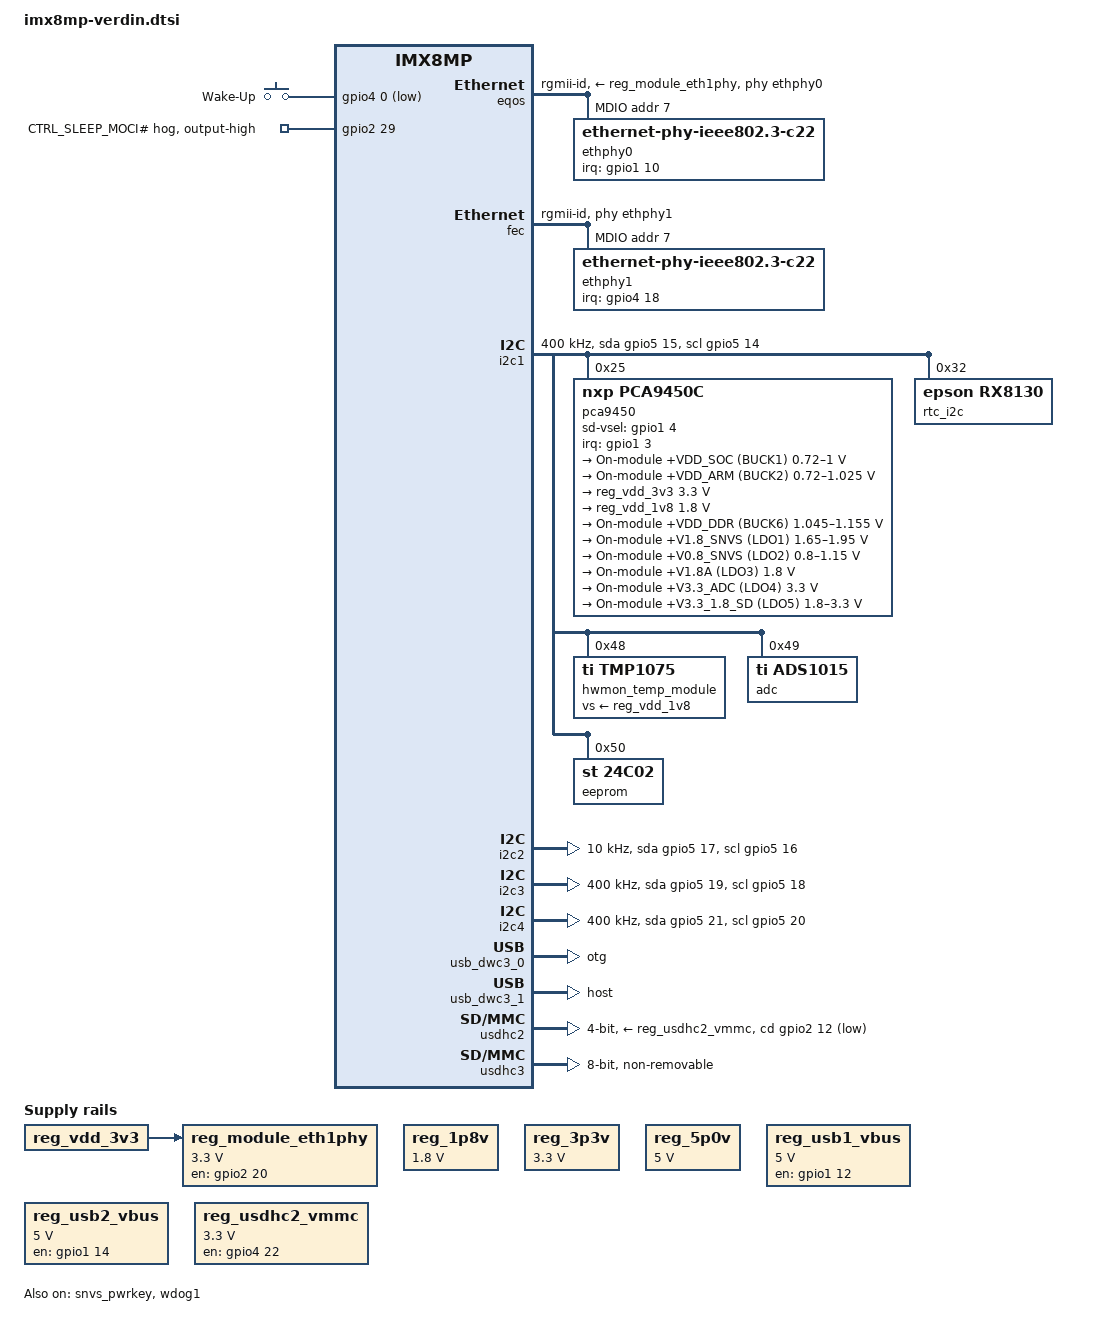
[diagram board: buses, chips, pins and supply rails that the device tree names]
// SPDX-License-Identifier: GPL-2.0-or-later OR MIT
/*
 * Copyright 2022 Toradex
 */

#include "dt-bindings/pwm/pwm.h"
#include "imx8mp.dtsi"

/ {
	chosen {
		stdout-path = &uart3;
	};

	aliases {
		/* Ethernet aliases to ensure correct MAC addresses */
		ethernet0 = &eqos;
		ethernet1 = &fec;
		rtc0 = &rtc_i2c;
		rtc1 = &snvs_rtc;
	};

	backlight: backlight {
		compatible = "pwm-backlight";
		brightness-levels = <0 45 63 88 119 158 203 255>;
		default-brightness-level = <4>;
		/* Verdin I2S_2_D_OUT (DSI_1_BKL_EN/DSI_1_BKL_EN_LVDS, SODIMM 46) */
		enable-gpios = <&gpio5 1 GPIO_ACTIVE_HIGH>;
		pinctrl-names = "default";
		pinctrl-0 = <&pinctrl_i2s_2_d_out_dsi_1_bkl_en>;
		power-supply = <&reg_3p3v>;
		/* Verdin PWM_3_DSI/PWM_3_DSI_LVDS (SODIMM 19) */
		pwms = <&pwm3 0 6666667 PWM_POLARITY_INVERTED>;
		status = "disabled";
	};

	backlight_mezzanine: backlight-mezzanine {
		compatible = "pwm-backlight";
		brightness-levels = <0 45 63 88 119 158 203 255>;
		default-brightness-level = <4>;
		/* Verdin GPIO 4 (SODIMM 212) */
		enable-gpios = <&gpio1 6 GPIO_ACTIVE_HIGH>;
		/* Verdin PWM_2 (SODIMM 16) */
		pwms = <&pwm2 0 6666667 PWM_POLARITY_INVERTED>;
		status = "disabled";
	};

	gpio-keys {
		compatible = "gpio-keys";
		pinctrl-names = "default";
		pinctrl-0 = <&pinctrl_gpio_keys>;

		wakeup {
			debounce-interval = <10>;
			/* Verdin CTRL_WAKE1_MICO# (SODIMM 252) */
			gpios = <&gpio4 0 GPIO_ACTIVE_LOW>;
			label = "Wake-Up";
			linux,code = <KEY_WAKEUP>;
			wakeup-source;
		};
	};

	/* Carrier Board Supplies */
	reg_1p8v: regulator-1p8v {
		compatible = "regulator-fixed";
		regulator-max-microvolt = <1800000>;
		regulator-min-microvolt = <1800000>;
		regulator-name = "+V1.8_SW";
	};

	reg_3p3v: regulator-3p3v {
		compatible = "regulator-fixed";
		regulator-max-microvolt = <3300000>;
		regulator-min-microvolt = <3300000>;
		regulator-name = "+V3.3_SW";
	};

	reg_5p0v: regulator-5p0v {
		compatible = "regulator-fixed";
		regulator-max-microvolt = <5000000>;
		regulator-min-microvolt = <5000000>;
		regulator-name = "+V5_SW";
	};

	/* Non PMIC On-module Supplies */
	reg_module_eth1phy: regulator-module-eth1phy {
		compatible = "regulator-fixed";
		enable-active-high;
		gpio = <&gpio2 20 GPIO_ACTIVE_HIGH>; /* PMIC_EN_ETH */
		off-on-delay = <500000>;
		pinctrl-names = "default";
		pinctrl-0 = <&pinctrl_reg_eth>;
		regulator-always-on;
		regulator-boot-on;
		regulator-max-microvolt = <3300000>;
		regulator-min-microvolt = <3300000>;
		regulator-name = "On-module +V3.3_ETH";
		startup-delay-us = <200000>;
		vin-supply = <&reg_vdd_3v3>;
	};

	reg_usb1_vbus: regulator-usb1-vbus {
		compatible = "regulator-fixed";
		enable-active-high;
		/* Verdin USB_1_EN (SODIMM 155) */
		gpio = <&gpio1 12 GPIO_ACTIVE_HIGH>;
		pinctrl-names = "default";
		pinctrl-0 = <&pinctrl_usb1_vbus>;
		regulator-max-microvolt = <5000000>;
		regulator-min-microvolt = <5000000>;
		regulator-name = "USB_1_EN";
	};

	reg_usb2_vbus: regulator-usb2-vbus {
		compatible = "regulator-fixed";
		enable-active-high;
		/* Verdin USB_2_EN (SODIMM 185) */
		gpio = <&gpio1 14 GPIO_ACTIVE_HIGH>;
		pinctrl-names = "default";
		pinctrl-0 = <&pinctrl_usb2_vbus>;
		regulator-max-microvolt = <5000000>;
		regulator-min-microvolt = <5000000>;
		regulator-name = "USB_2_EN";
	};

	reg_usdhc2_vmmc: regulator-usdhc2 {
		compatible = "regulator-fixed";
		enable-active-high;
		/* Verdin SD_1_PWR_EN (SODIMM 76) */
		gpio = <&gpio4 22 GPIO_ACTIVE_HIGH>;
		off-on-delay = <100000>;
		pinctrl-names = "default";
		pinctrl-0 = <&pinctrl_usdhc2_pwr_en>;
		regulator-max-microvolt = <3300000>;
		regulator-min-microvolt = <3300000>;
		regulator-name = "+V3.3_SD";
		startup-delay-us = <2000>;
	};

	reserved-memory {
		#address-cells = <2>;
		#size-cells = <2>;
		ranges;

		/* Use the kernel configuration settings instead */
		/delete-node/ linux,cma;
	};
};

/* Verdin SPI_1 */
&ecspi1 {
	#address-cells = <1>;
	#size-cells = <0>;
	cs-gpios = <&gpio5 9 GPIO_ACTIVE_LOW>;
	pinctrl-names = "default";
	pinctrl-0 = <&pinctrl_ecspi1>;
};

/* Verdin ETH_1 (On-module PHY) */
&eqos {
	phy-handle = <&ethphy0>;
	phy-mode = "rgmii-id";
	phy-supply = <&reg_module_eth1phy>;
	pinctrl-names = "default";
	pinctrl-0 = <&pinctrl_eqos>;
	snps,force_thresh_dma_mode;
	snps,mtl-rx-config = <&mtl_rx_setup>;
	snps,mtl-tx-config = <&mtl_tx_setup>;

	mdio {
		compatible = "snps,dwmac-mdio";
		#address-cells = <1>;
		#size-cells = <0>;

		ethphy0: ethernet-phy@7 {
			compatible = "ethernet-phy-ieee802.3-c22";
			eee-broken-100tx;
			eee-broken-1000t;
			interrupt-parent = <&gpio1>;
			interrupts = <10 IRQ_TYPE_LEVEL_LOW>;
			micrel,led-mode = <0>;
			reg = <7>;
		};
	};

	mtl_rx_setup: rx-queues-config {
		snps,rx-queues-to-use = <5>;
		snps,rx-sched-sp;

		queue0 {
			snps,dcb-algorithm;
			snps,priority = <0x1>;
			snps,map-to-dma-channel = <0>;
		};

		queue1 {
			snps,dcb-algorithm;
			snps,priority = <0x2>;
			snps,map-to-dma-channel = <1>;
		};

		queue2 {
			snps,dcb-algorithm;
			snps,priority = <0x4>;
			snps,map-to-dma-channel = <2>;
		};

		queue3 {
			snps,dcb-algorithm;
			snps,priority = <0x8>;
			snps,map-to-dma-channel = <3>;
		};

		queue4 {
			snps,dcb-algorithm;
			snps,priority = <0xf0>;
			snps,map-to-dma-channel = <4>;
		};
	};

	mtl_tx_setup: tx-queues-config {
		snps,tx-queues-to-use = <5>;
		snps,tx-sched-sp;

		queue0 {
			snps,dcb-algorithm;
			snps,priority = <0x1>;
		};

		queue1 {
			snps,dcb-algorithm;
			snps,priority = <0x2>;
		};

		queue2 {
			snps,dcb-algorithm;
			snps,priority = <0x4>;
		};

		queue3 {
			snps,dcb-algorithm;
			snps,priority = <0x8>;
		};

		queue4 {
			snps,dcb-algorithm;
			snps,priority = <0xf0>;
		};
	};
};

/* Verdin ETH_2_RGMII */
&fec {
	fsl,magic-packet;
	phy-handle = <&ethphy1>;
	phy-mode = "rgmii-id";
	pinctrl-names = "default", "sleep";
	pinctrl-0 = <&pinctrl_fec>;
	pinctrl-1 = <&pinctrl_fec_sleep>;

	mdio {
		#address-cells = <1>;
		#size-cells = <0>;

		ethphy1: ethernet-phy@7 {
			compatible = "ethernet-phy-ieee802.3-c22";
			interrupt-parent = <&gpio4>;
			interrupts = <18 IRQ_TYPE_LEVEL_LOW>;
			micrel,led-mode = <0>;
			reg = <7>;
		};
	};
};

/* Verdin CAN_1 */
&flexcan1 {
	pinctrl-names = "default";
	pinctrl-0 = <&pinctrl_flexcan1>;
	status = "disabled";
};


/* Verdin CAN_2 */
&flexcan2 {
	pinctrl-names = "default";
	pinctrl-0 = <&pinctrl_flexcan2>;
	status = "disabled";
};

/* Verdin QSPI_1 */
&flexspi {
	pinctrl-names = "default";
	pinctrl-0 = <&pinctrl_flexspi0>;
};

&gpio1 {
	gpio-line-names = "SODIMM_206",
			  "SODIMM_208",
			  "",
			  "",
			  "",
			  "SODIMM_210",
			  "SODIMM_212",
			  "SODIMM_216",
			  "SODIMM_218",
			  "",
			  "",
			  "SODIMM_16",
			  "SODIMM_155",
			  "SODIMM_157",
			  "SODIMM_185",
			  "SODIMM_91";
};

&gpio2 {
	gpio-line-names = "",
			  "",
			  "",
			  "",
			  "",
			  "",
			  "SODIMM_143",
			  "SODIMM_141",
			  "",
			  "",
			  "SODIMM_161",
			  "",
			  "SODIMM_84",
			  "SODIMM_78",
			  "SODIMM_74",
			  "SODIMM_80",
			  "SODIMM_82",
			  "SODIMM_70",
			  "SODIMM_72";

	ctrl-sleep-moci-hog {
		gpio-hog;
		/* Verdin CTRL_SLEEP_MOCI# (SODIMM 256) */
		gpios = <29 GPIO_ACTIVE_HIGH>;
		line-name = "CTRL_SLEEP_MOCI#";
		output-high;
		pinctrl-names = "default";
		pinctrl-0 = <&pinctrl_ctrl_sleep_moci>;
	};
};

&gpio3 {
	gpio-line-names = "SODIMM_52",
			  "SODIMM_54",
			  "",
			  "",
			  "",
			  "",
			  "SODIMM_56",
			  "SODIMM_58",
			  "SODIMM_60",
			  "SODIMM_62",
			  "",
			  "",
			  "",
			  "",
			  "SODIMM_66",
			  "",
			  "SODIMM_64",
			  "",
			  "",
			  "SODIMM_34",
			  "SODIMM_19",
			  "",
			  "SODIMM_32",
			  "",
			  "",
			  "SODIMM_30",
			  "SODIMM_59",
			  "SODIMM_57",
			  "SODIMM_63",
			  "SODIMM_61";
};

&gpio4 {
	gpio-line-names = "SODIMM_252",
			  "SODIMM_222",
			  "SODIMM_36",
			  "SODIMM_220",
			  "SODIMM_193",
			  "SODIMM_191",
			  "SODIMM_201",
			  "SODIMM_203",
			  "SODIMM_205",
			  "SODIMM_207",
			  "SODIMM_199",
			  "SODIMM_197",
			  "SODIMM_221",
			  "SODIMM_219",
			  "SODIMM_217",
			  "SODIMM_215",
			  "SODIMM_211",
			  "SODIMM_213",
			  "SODIMM_189",
			  "SODIMM_244",
			  "SODIMM_38",
			  "",
			  "SODIMM_76",
			  "SODIMM_135",
			  "SODIMM_133",
			  "SODIMM_17",
			  "SODIMM_24",
			  "SODIMM_26",
			  "SODIMM_21",
			  "SODIMM_256",
			  "SODIMM_48",
			  "SODIMM_44";
};

/* On-module I2C */
&i2c1 {
	clock-frequency = <400000>;
	pinctrl-names = "default", "gpio";
	pinctrl-0 = <&pinctrl_i2c1>;
	pinctrl-1 = <&pinctrl_i2c1_gpio>;
	scl-gpios = <&gpio5 14 (GPIO_ACTIVE_HIGH | GPIO_OPEN_DRAIN)>;
	sda-gpios = <&gpio5 15 (GPIO_ACTIVE_HIGH | GPIO_OPEN_DRAIN)>;
	status = "okay";

	pca9450: pmic@25 {
		compatible = "nxp,pca9450c";
		interrupt-parent = <&gpio1>;
		/* PMIC PCA9450 PMIC_nINT GPIO1_IO3 */
		interrupts = <3 IRQ_TYPE_LEVEL_LOW>;
		pinctrl-names = "default";
		pinctrl-0 = <&pinctrl_pmic>;
		reg = <0x25>;
		sd-vsel-gpios = <&gpio1 4 GPIO_ACTIVE_HIGH>;

		/*
		 * The bootloader is expected to switch on LDO4 for the on-module +V3.3_ADC and the
		 * I2C level shifter for the TLA2024 ADC behind this PMIC.
		 */

		regulators {
			BUCK1 {
				regulator-always-on;
				regulator-boot-on;
				regulator-max-microvolt = <1000000>;
				regulator-min-microvolt = <720000>;
				regulator-name = "On-module +VDD_SOC (BUCK1)";
				regulator-ramp-delay = <3125>;
			};

			BUCK2 {
				nxp,dvs-run-voltage = <950000>;
				nxp,dvs-standby-voltage = <850000>;
				regulator-always-on;
				regulator-boot-on;
				regulator-max-microvolt = <1025000>;
				regulator-min-microvolt = <720000>;
				regulator-name = "On-module +VDD_ARM (BUCK2)";
				regulator-ramp-delay = <3125>;
			};

			reg_vdd_3v3: BUCK4 {
				regulator-always-on;
				regulator-boot-on;
				regulator-max-microvolt = <3300000>;
				regulator-min-microvolt = <3300000>;
				regulator-name = "On-module +V3.3 (BUCK4)";
			};

			reg_vdd_1v8: BUCK5 {
				regulator-always-on;
				regulator-boot-on;
				regulator-max-microvolt = <1800000>;
				regulator-min-microvolt = <1800000>;
				regulator-name = "PWR_1V8_MOCI (BUCK5)";
			};

			BUCK6 {
				regulator-always-on;
				regulator-boot-on;
				regulator-max-microvolt = <1155000>;
				regulator-min-microvolt = <1045000>;
				regulator-name = "On-module +VDD_DDR (BUCK6)";
			};

			LDO1 {
				regulator-always-on;
				regulator-boot-on;
				regulator-max-microvolt = <1950000>;
				regulator-min-microvolt = <1650000>;
				regulator-name = "On-module +V1.8_SNVS (LDO1)";
			};

			LDO2 {
				regulator-always-on;
				regulator-boot-on;
				regulator-max-microvolt = <1150000>;
				regulator-min-microvolt = <800000>;
				regulator-name = "On-module +V0.8_SNVS (LDO2)";
			};

			LDO3 {
				regulator-always-on;
				regulator-boot-on;
				regulator-max-microvolt = <1800000>;
				regulator-min-microvolt = <1800000>;
				regulator-name = "On-module +V1.8A (LDO3)";
			};

			LDO4 {
				regulator-always-on;
				regulator-boot-on;
				regulator-max-microvolt = <3300000>;
				regulator-min-microvolt = <3300000>;
				regulator-name = "On-module +V3.3_ADC (LDO4)";
			};

			LDO5 {
				regulator-max-microvolt = <3300000>;
				regulator-min-microvolt = <1800000>;
				regulator-name = "On-module +V3.3_1.8_SD (LDO5)";
			};
		};
	};

	rtc_i2c: rtc@32 {
		compatible = "epson,rx8130";
		reg = <0x32>;
	};

	/* On-module temperature sensor */
	hwmon_temp_module: sensor@48 {
		compatible = "ti,tmp1075";
		reg = <0x48>;
		vs-supply = <&reg_vdd_1v8>;
	};

	adc@49 {
		compatible = "ti,ads1015";
		reg = <0x49>;
		#address-cells = <1>;
		#size-cells = <0>;

		/* Verdin I2C_1 (ADC_4 - ADC_3) */
		channel@0 {
			reg = <0>;
			ti,datarate = <4>;
			ti,gain = <2>;
		};

		/* Verdin I2C_1 (ADC_4 - ADC_1) */
		channel@1 {
			reg = <1>;
			ti,datarate = <4>;
			ti,gain = <2>;
		};

		/* Verdin I2C_1 (ADC_3 - ADC_1) */
		channel@2 {
			reg = <2>;
			ti,datarate = <4>;
			ti,gain = <2>;
		};

		/* Verdin I2C_1 (ADC_2 - ADC_1) */
		channel@3 {
			reg = <3>;
			ti,datarate = <4>;
			ti,gain = <2>;
		};

		/* Verdin I2C_1 ADC_4 */
		channel@4 {
			reg = <4>;
			ti,datarate = <4>;
			ti,gain = <2>;
		};

		/* Verdin I2C_1 ADC_3 */
		channel@5 {
			reg = <5>;
			ti,datarate = <4>;
			ti,gain = <2>;
		};

		/* Verdin I2C_1 ADC_2 */
		channel@6 {
			reg = <6>;
			ti,datarate = <4>;
			ti,gain = <2>;
		};

		/* Verdin I2C_1 ADC_1 */
		channel@7 {
			reg = <7>;
			ti,datarate = <4>;
			ti,gain = <2>;
		};
	};

	eeprom@50 {
		compatible = "st,24c02";
		pagesize = <16>;
		reg = <0x50>;
	};
};

/* Verdin I2C_2_DSI */
&i2c2 {
	/* Lower frequency to avoid DDC/EDID issues with certain displays/screens. */
	clock-frequency = <10000>;
	pinctrl-names = "default", "gpio";
	pinctrl-0 = <&pinctrl_i2c2>;
	pinctrl-1 = <&pinctrl_i2c2_gpio>;
	scl-gpios = <&gpio5 16 (GPIO_ACTIVE_HIGH | GPIO_OPEN_DRAIN)>;
	sda-gpios = <&gpio5 17 (GPIO_ACTIVE_HIGH | GPIO_OPEN_DRAIN)>;

	atmel_mxt_ts_mezzanine: touch-mezzanine@4a {
		compatible = "atmel,maxtouch";
		/* Verdin GPIO_3 (SODIMM 210) */
		interrupt-parent = <&gpio1>;
		interrupts = <5 IRQ_TYPE_EDGE_FALLING>;
		reg = <0x4a>;
		/* Verdin GPIO_2 (SODIMM 208) */
		reset-gpios = <&gpio1 1 GPIO_ACTIVE_HIGH>;
		status = "disabled";
	};
};

/* TODO: Verdin I2C_3_HDMI */

/* Verdin I2C_4_CSI */
&i2c3 {
	clock-frequency = <400000>;
	pinctrl-names = "default", "gpio";
	pinctrl-0 = <&pinctrl_i2c3>;
	pinctrl-1 = <&pinctrl_i2c3_gpio>;
	scl-gpios = <&gpio5 18 (GPIO_ACTIVE_HIGH | GPIO_OPEN_DRAIN)>;
	sda-gpios = <&gpio5 19 (GPIO_ACTIVE_HIGH | GPIO_OPEN_DRAIN)>;
};

/* Verdin I2C_1 */
&i2c4 {
	clock-frequency = <400000>;
	pinctrl-names = "default", "gpio";
	pinctrl-0 = <&pinctrl_i2c4>;
	pinctrl-1 = <&pinctrl_i2c4_gpio>;
	scl-gpios = <&gpio5 20 (GPIO_ACTIVE_HIGH | GPIO_OPEN_DRAIN)>;
	sda-gpios = <&gpio5 21 (GPIO_ACTIVE_HIGH | GPIO_OPEN_DRAIN)>;

	gpio_expander_21: gpio-expander@21 {
		compatible = "nxp,pcal6416";
		#gpio-cells = <2>;
		gpio-controller;
		reg = <0x21>;
		vcc-supply = <&reg_3p3v>;
		status = "disabled";
	};

	lvds_ti_sn65dsi83: bridge@2c {
		compatible = "ti,sn65dsi83";
		/* Verdin GPIO_9_DSI (SN65DSI84 IRQ, SODIMM 17, unused) */
		/* Verdin GPIO_10_DSI (SODIMM 21) */
		enable-gpios = <&gpio4 28 GPIO_ACTIVE_HIGH>;
		pinctrl-names = "default";
		pinctrl-0 = <&pinctrl_gpio_10_dsi>;
		reg = <0x2c>;
		status = "disabled";
	};

	/* Current measurement into module VCC */
	hwmon: hwmon@40 {
		compatible = "ti,ina219";
		reg = <0x40>;
		shunt-resistor = <10000>;
		status = "disabled";
	};

	hdmi_lontium_lt8912: hdmi@48 {
		compatible = "lontium,lt8912b";
		pinctrl-names = "default";
		pinctrl-0 = <&pinctrl_gpio_10_dsi>, <&pinctrl_pwm_3_dsi_hpd_gpio>;
		reg = <0x48>;
		/* Verdin GPIO_9_DSI (LT8912 INT, SODIMM 17, unused) */
		/* Verdin GPIO_10_DSI (SODIMM 21) */
		reset-gpios = <&gpio4 28 GPIO_ACTIVE_LOW>;
		status = "disabled";
	};

	atmel_mxt_ts: touch@4a {
		compatible = "atmel,maxtouch";
		/*
		 * Verdin GPIO_9_DSI
		 * (TOUCH_INT#, SODIMM 17, also routed to SN65DSI83 IRQ albeit currently unused)
		 */
		interrupt-parent = <&gpio4>;
		interrupts = <25 IRQ_TYPE_EDGE_FALLING>;
		pinctrl-names = "default";
		pinctrl-0 = <&pinctrl_gpio_9_dsi>, <&pinctrl_i2s_2_bclk_touch_reset>;
		reg = <0x4a>;
		/* Verdin I2S_2_BCLK (TOUCH_RESET#, SODIMM 42) */
		reset-gpios = <&gpio5 0 GPIO_ACTIVE_HIGH>;
		status = "disabled";
	};

	/* Temperature sensor on carrier board */
	hwmon_temp: sensor@4f {
		compatible = "ti,tmp75c";
		reg = <0x4f>;
		status = "disabled";
	};

	/* EEPROM on display adapter (MIPI DSI Display Adapter) */
	eeprom_display_adapter: eeprom@50 {
		compatible = "st,24c02";
		pagesize = <16>;
		reg = <0x50>;
		status = "disabled";
	};

	/* EEPROM on carrier board */
	eeprom_carrier_board: eeprom@57 {
		compatible = "st,24c02";
		pagesize = <16>;
		reg = <0x57>;
		status = "disabled";
	};
};

/* TODO: Verdin PCIE_1 */

/* Verdin PWM_1 */
&pwm1 {
	pinctrl-names = "default";
	pinctrl-0 = <&pinctrl_pwm_1>;
	#pwm-cells = <3>;
};

/* Verdin PWM_2 */
&pwm2 {
	pinctrl-names = "default";
	pinctrl-0 = <&pinctrl_pwm_2>;
	#pwm-cells = <3>;
};

/* Verdin PWM_3_DSI */
&pwm3 {
	pinctrl-names = "default";
	pinctrl-0 = <&pinctrl_pwm_3>;
	#pwm-cells = <3>;
};

/* TODO: Verdin I2S_1 */

/* TODO: Verdin I2S_2 */

&snvs_pwrkey {
	status = "okay";
};

/* Verdin UART_1 */
&uart1 {
	pinctrl-names = "default";
	pinctrl-0 = <&pinctrl_uart1>;
	uart-has-rtscts;
};

/* Verdin UART_2 */
&uart2 {
	pinctrl-names = "default";
	pinctrl-0 = <&pinctrl_uart2>;
	uart-has-rtscts;
};

/* Verdin UART_3, used as the Linux Console */
&uart3 {
	pinctrl-names = "default";
	pinctrl-0 = <&pinctrl_uart3>;
};

/* Verdin UART_4, used for Bluetooth on Wi-Fi/Bluetooth SKUs */
&uart4 {
	pinctrl-names = "default";
	pinctrl-0 = <&pinctrl_uart4>;
};

/* Verdin USB_1 */
&usb3_phy0 {
	vbus-supply = <&reg_usb1_vbus>;
};

&usb_dwc3_0 {
	adp-disable;
	dr_mode = "otg";
	hnp-disable;
	maximum-speed = "high-speed";
	over-current-active-low;
	pinctrl-names = "default";
	pinctrl-0 = <&pinctrl_usb_1_id>;
	srp-disable;
};

/* Verdin USB_2 */
&usb3_phy1 {
	vbus-supply = <&reg_usb2_vbus>;
};

&usb_dwc3_1 {
	disable-over-current;
	dr_mode = "host";
};

/* Verdin SD_1 */
&usdhc2 {
	assigned-clocks = <&clk IMX8MP_CLK_USDHC2>;
	assigned-clock-rates = <400000000>;
	bus-width = <4>;
	cd-gpios = <&gpio2 12 GPIO_ACTIVE_LOW>;
	disable-wp;
	pinctrl-names = "default", "state_100mhz", "state_200mhz", "sleep";
	pinctrl-0 = <&pinctrl_usdhc2>, <&pinctrl_usdhc2_cd>;
	pinctrl-1 = <&pinctrl_usdhc2_100mhz>, <&pinctrl_usdhc2_cd>;
	pinctrl-2 = <&pinctrl_usdhc2_200mhz>, <&pinctrl_usdhc2_cd>;
	pinctrl-3 = <&pinctrl_usdhc2_sleep>, <&pinctrl_usdhc2_cd_sleep>;
	vmmc-supply = <&reg_usdhc2_vmmc>;
};

/* On-module eMMC */
&usdhc3 {
	assigned-clocks = <&clk IMX8MP_CLK_USDHC3_ROOT>;
	assigned-clock-rates = <400000000>;
	bus-width = <8>;
	non-removable;
	pinctrl-names = "default", "state_100mhz", "state_200mhz";
	pinctrl-0 = <&pinctrl_usdhc3>;
	pinctrl-1 = <&pinctrl_usdhc3_100mhz>;
	pinctrl-2 = <&pinctrl_usdhc3_200mhz>;
	status = "okay";
};

&wdog1 {
	fsl,ext-reset-output;
	pinctrl-names = "default";
	pinctrl-0 = <&pinctrl_wdog>;
	status = "okay";
};

&iomuxc {
	pinctrl_bt_uart: btuartgrp {
		fsl,pins =
			<MX8MP_IOMUXC_ECSPI2_MISO__UART4_DCE_CTS	0x1c4>,
			<MX8MP_IOMUXC_ECSPI2_MOSI__UART4_DCE_TX		0x1c4>,
			<MX8MP_IOMUXC_ECSPI2_SCLK__UART4_DCE_RX		0x1c4>,
			<MX8MP_IOMUXC_ECSPI2_SS0__UART4_DCE_RTS		0x1c4>;
	};

	pinctrl_ctrl_sleep_moci: ctrlsleepmocigrp {
		fsl,pins =
			<MX8MP_IOMUXC_SAI3_RXC__GPIO4_IO29		0x1c4>;	/* SODIMM 256 */
	};

	pinctrl_ecspi1: ecspi1grp {
		fsl,pins =
			<MX8MP_IOMUXC_ECSPI1_MISO__ECSPI1_MISO		0x1c4>,	/* SODIMM 198 */
			<MX8MP_IOMUXC_ECSPI1_MOSI__ECSPI1_MOSI		0x4>,	/* SODIMM 200 */
			<MX8MP_IOMUXC_ECSPI1_SCLK__ECSPI1_SCLK		0x4>,	/* SODIMM 196 */
			<MX8MP_IOMUXC_ECSPI1_SS0__GPIO5_IO09		0x1c4>;	/* SODIMM 202 */
	};

	/* Connection On Board PHY */
	pinctrl_eqos: eqosgrp {
		fsl,pins =
			<MX8MP_IOMUXC_ENET_MDC__ENET_QOS_MDC				0x3>,
			<MX8MP_IOMUXC_ENET_MDIO__ENET_QOS_MDIO				0x3>,
			<MX8MP_IOMUXC_ENET_RD0__ENET_QOS_RGMII_RD0			0x91>,
			<MX8MP_IOMUXC_ENET_RD1__ENET_QOS_RGMII_RD1			0x91>,
			<MX8MP_IOMUXC_ENET_RD2__ENET_QOS_RGMII_RD2			0x91>,
			<MX8MP_IOMUXC_ENET_RD3__ENET_QOS_RGMII_RD3			0x91>,
			<MX8MP_IOMUXC_ENET_RXC__CCM_ENET_QOS_CLOCK_GENERATE_RX_CLK	0x91>,
			<MX8MP_IOMUXC_ENET_RX_CTL__ENET_QOS_RGMII_RX_CTL		0x91>,
			<MX8MP_IOMUXC_ENET_TD0__ENET_QOS_RGMII_TD0			0x1f>,
			<MX8MP_IOMUXC_ENET_TD1__ENET_QOS_RGMII_TD1			0x1f>,
			<MX8MP_IOMUXC_ENET_TD2__ENET_QOS_RGMII_TD2			0x1f>,
			<MX8MP_IOMUXC_ENET_TD3__ENET_QOS_RGMII_TD3			0x1f>,
			<MX8MP_IOMUXC_ENET_TX_CTL__ENET_QOS_RGMII_TX_CTL		0x1f>,
			<MX8MP_IOMUXC_ENET_TXC__CCM_ENET_QOS_CLOCK_GENERATE_TX_CLK	0x1f>;
	};

	/* ETH_INT# shared with TPM_INT# (usually N/A) */
	pinctrl_eth_tpm_int: ethtpmintgrp {
		fsl,pins =
			<MX8MP_IOMUXC_GPIO1_IO10__GPIO1_IO10		0x1c4>;
	};

	/* Connection Carrier Board PHY ETH_2 */
	pinctrl_fec: fecgrp {
		fsl,pins =
			<MX8MP_IOMUXC_SAI1_RXD2__ENET1_MDC		0x3>,	/* SODIMM 193 */
			<MX8MP_IOMUXC_SAI1_RXD3__ENET1_MDIO		0x3>,	/* SODIMM 191 */
			<MX8MP_IOMUXC_SAI1_RXD4__ENET1_RGMII_RD0	0x91>,	/* SODIMM 201 */
			<MX8MP_IOMUXC_SAI1_RXD5__ENET1_RGMII_RD1	0x91>,	/* SODIMM 203 */
			<MX8MP_IOMUXC_SAI1_RXD6__ENET1_RGMII_RD2	0x91>,	/* SODIMM 205 */
			<MX8MP_IOMUXC_SAI1_RXD7__ENET1_RGMII_RD3	0x91>,	/* SODIMM 207 */
			<MX8MP_IOMUXC_SAI1_TXC__ENET1_RGMII_RXC		0x91>,	/* SODIMM 197 */
			<MX8MP_IOMUXC_SAI1_TXFS__ENET1_RGMII_RX_CTL	0x91>,	/* SODIMM 199 */
			<MX8MP_IOMUXC_SAI1_TXD0__ENET1_RGMII_TD0	0x1f>,	/* SODIMM 221 */
			<MX8MP_IOMUXC_SAI1_TXD1__ENET1_RGMII_TD1	0x1f>,	/* SODIMM 219 */
			<MX8MP_IOMUXC_SAI1_TXD2__ENET1_RGMII_TD2	0x1f>,	/* SODIMM 217 */
			<MX8MP_IOMUXC_SAI1_TXD3__ENET1_RGMII_TD3	0x1f>,	/* SODIMM 215 */
			<MX8MP_IOMUXC_SAI1_TXD4__ENET1_RGMII_TX_CTL	0x1f>,	/* SODIMM 211 */
			<MX8MP_IOMUXC_SAI1_TXD5__ENET1_RGMII_TXC	0x1f>,	/* SODIMM 213 */
			<MX8MP_IOMUXC_SAI1_TXD6__GPIO4_IO18		0x1c4>;	/* SODIMM 189 */
	};

	pinctrl_fec_sleep: fecsleepgrp {
		fsl,pins =
			<MX8MP_IOMUXC_SAI1_RXD2__ENET1_MDC		0x3>,	/* SODIMM 193 */
			<MX8MP_IOMUXC_SAI1_RXD3__ENET1_MDIO		0x3>,	/* SODIMM 191 */
			<MX8MP_IOMUXC_SAI1_RXD4__ENET1_RGMII_RD0	0x91>,	/* SODIMM 201 */
			<MX8MP_IOMUXC_SAI1_RXD5__ENET1_RGMII_RD1	0x91>,	/* SODIMM 203 */
			<MX8MP_IOMUXC_SAI1_RXD6__ENET1_RGMII_RD2	0x91>,	/* SODIMM 205 */
			<MX8MP_IOMUXC_SAI1_RXD7__ENET1_RGMII_RD3	0x91>,	/* SODIMM 207 */
			<MX8MP_IOMUXC_SAI1_TXC__ENET1_RGMII_RXC		0x91>,	/* SODIMM 197 */
			<MX8MP_IOMUXC_SAI1_TXFS__ENET1_RGMII_RX_CTL	0x91>,	/* SODIMM 199 */
			<MX8MP_IOMUXC_SAI1_TXD0__GPIO4_IO12		0x1f>,	/* SODIMM 221 */
			<MX8MP_IOMUXC_SAI1_TXD1__GPIO4_IO13		0x1f>,	/* SODIMM 219 */
			<MX8MP_IOMUXC_SAI1_TXD2__GPIO4_IO14		0x1f>,	/* SODIMM 217 */
			<MX8MP_IOMUXC_SAI1_TXD3__GPIO4_IO15		0x1f>,	/* SODIMM 215 */
			<MX8MP_IOMUXC_SAI1_TXD4__GPIO4_IO16		0x1f>,	/* SODIMM 211 */
			<MX8MP_IOMUXC_SAI1_TXD5__GPIO4_IO17		0x1f>,	/* SODIMM 213 */
			<MX8MP_IOMUXC_SAI1_TXD6__GPIO4_IO18		0x184>;	/* SODIMM 189 */
	};

	pinctrl_flexcan1: flexcan1grp {
		fsl,pins =
			<MX8MP_IOMUXC_SPDIF_RX__CAN1_RX			0x154>,	/* SODIMM 22 */
			<MX8MP_IOMUXC_SPDIF_TX__CAN1_TX			0x154>;	/* SODIMM 20 */
	};

	pinctrl_flexcan2: flexcan2grp {
		fsl,pins =
			<MX8MP_IOMUXC_SAI2_MCLK__CAN2_RX		0x154>,	/* SODIMM 26 */
			<MX8MP_IOMUXC_SAI2_TXD0__CAN2_TX		0x154>;	/* SODIMM 24 */
	};

	pinctrl_flexspi0: flexspi0grp {
		fsl,pins =
			<MX8MP_IOMUXC_NAND_ALE__FLEXSPI_A_SCLK		0x1c2>,	/* SODIMM 52 */
			<MX8MP_IOMUXC_NAND_CE0_B__FLEXSPI_A_SS0_B	0x82>,	/* SODIMM 54 */
			<MX8MP_IOMUXC_NAND_DQS__FLEXSPI_A_DQS		0x82>,	/* SODIMM 66 */
			<MX8MP_IOMUXC_NAND_DATA00__FLEXSPI_A_DATA00	0x82>,	/* SODIMM 56 */
			<MX8MP_IOMUXC_NAND_DATA01__FLEXSPI_A_DATA01	0x82>,	/* SODIMM 58 */
			<MX8MP_IOMUXC_NAND_DATA02__FLEXSPI_A_DATA02	0x82>,	/* SODIMM 60 */
			<MX8MP_IOMUXC_NAND_DATA03__FLEXSPI_A_DATA03	0x82>,	/* SODIMM 62 */
			<MX8MP_IOMUXC_NAND_READY_B__GPIO3_IO16		0x82>;	/* SODIMM 64 */
	};

	pinctrl_gpio1: gpio1grp {
		fsl,pins =
			<MX8MP_IOMUXC_GPIO1_IO00__GPIO1_IO00		0x184>;	/* SODIMM 206 */
	};

	pinctrl_gpio2: gpio2grp {
		fsl,pins =
			<MX8MP_IOMUXC_GPIO1_IO01__GPIO1_IO01		0x1c4>;	/* SODIMM 208 */
	};

	pinctrl_gpio3: gpio3grp {
		fsl,pins =
			<MX8MP_IOMUXC_GPIO1_IO05__GPIO1_IO05		0x184>;	/* SODIMM 210 */
	};

	pinctrl_gpio4: gpio4grp {
		fsl,pins =
			<MX8MP_IOMUXC_GPIO1_IO06__GPIO1_IO06		0x184>;	/* SODIMM 212 */
	};

	pinctrl_gpio5: gpio5grp {
		fsl,pins =
			<MX8MP_IOMUXC_GPIO1_IO07__GPIO1_IO07		0x184>;	/* SODIMM 216 */
	};

	pinctrl_gpio6: gpio6grp {
		fsl,pins =
			<MX8MP_IOMUXC_GPIO1_IO08__GPIO1_IO08		0x184>;	/* SODIMM 218 */
	};

	pinctrl_gpio7: gpio7grp {
		fsl,pins =
			<MX8MP_IOMUXC_SAI1_RXD1__GPIO4_IO03		0x184>;	/* SODIMM 220 */
	};

	pinctrl_gpio8: gpio8grp {
		fsl,pins =
			<MX8MP_IOMUXC_SAI1_RXC__GPIO4_IO01		0x184>;	/* SODIMM 222 */
	};

	/* Verdin GPIO_9_DSI (pulled-up as active-low) */
	pinctrl_gpio_9_dsi: gpio9dsigrp {
		fsl,pins =
			<MX8MP_IOMUXC_SAI2_TXC__GPIO4_IO25		0x1c4>;	/* SODIMM 17 */
	};

	/* Verdin GPIO_10_DSI */
	pinctrl_gpio_10_dsi: gpio10dsigrp {
		fsl,pins =
			<MX8MP_IOMUXC_SAI3_RXFS__GPIO4_IO28		0x1c4>;	/* SODIMM 21 */
	};

	/* Non-wifi MSP usage only */
	pinctrl_gpio_hog1: gpiohog1grp {
		fsl,pins =
			<MX8MP_IOMUXC_ECSPI2_MISO__GPIO5_IO12		0x1c4>,	/* SODIMM 116 */
			<MX8MP_IOMUXC_ECSPI2_MOSI__GPIO5_IO11		0x1c4>,	/* SODIMM 152 */
			<MX8MP_IOMUXC_ECSPI2_SCLK__GPIO5_IO10		0x1c4>,	/* SODIMM 164 */
			<MX8MP_IOMUXC_ECSPI2_SS0__GPIO5_IO13		0x1c4>;	/* SODIMM 128 */
	};

	/* USB_2_OC# */
	pinctrl_gpio_hog2: gpiohog2grp {
		fsl,pins =
			<MX8MP_IOMUXC_SAI3_MCLK__GPIO5_IO02		0x1c4>;	/* SODIMM 187 */
	};

	pinctrl_gpio_hog3: gpiohog3grp {
		fsl,pins =
			<MX8MP_IOMUXC_GPIO1_IO13__GPIO1_IO13		0x1c4>,	/* SODIMM 157 */
			/* CSI_1_MCLK */
			<MX8MP_IOMUXC_GPIO1_IO15__GPIO1_IO15		0x1c4>;	/* SODIMM 91 */
	};

	/* Wifi usage only */
	pinctrl_gpio_hog4: gpiohog4grp {
		fsl,pins =
			<MX8MP_IOMUXC_UART4_RXD__GPIO5_IO28		0x1c4>,	/* SODIMM 151 */
			<MX8MP_IOMUXC_UART4_TXD__GPIO5_IO29		0x1c4>;	/* SODIMM 153 */
	};

	pinctrl_gpio_keys: gpiokeysgrp {
		fsl,pins =
			<MX8MP_IOMUXC_SAI1_RXFS__GPIO4_IO00		0x1c4>;	/* SODIMM 252 */
	};

	pinctrl_hdmi_hog: hdmihoggrp {
		fsl,pins =
			<MX8MP_IOMUXC_HDMI_CEC__HDMIMIX_HDMI_CEC	0x40000019>,	/* SODIMM 63 */
			<MX8MP_IOMUXC_HDMI_DDC_SCL__HDMIMIX_HDMI_SCL	0x400001c3>,	/* SODIMM 59 */
			<MX8MP_IOMUXC_HDMI_DDC_SDA__HDMIMIX_HDMI_SDA	0x400001c3>,	/* SODIMM 57 */
			<MX8MP_IOMUXC_HDMI_HPD__HDMIMIX_HDMI_HPD	0x40000019>;	/* SODIMM 61 */
	};

	/* On-module I2C */
	pinctrl_i2c1: i2c1grp {
		fsl,pins =
			<MX8MP_IOMUXC_I2C1_SCL__I2C1_SCL		0x400001c6>,	/* PMIC_I2C_SCL */
			<MX8MP_IOMUXC_I2C1_SDA__I2C1_SDA		0x400001c6>;	/* PMIC_I2C_SDA */
	};

	pinctrl_i2c1_gpio: i2c1gpiogrp {
		fsl,pins =
			<MX8MP_IOMUXC_I2C1_SCL__GPIO5_IO14		0x400001c6>,	/* PMIC_I2C_SCL */
			<MX8MP_IOMUXC_I2C1_SDA__GPIO5_IO15		0x400001c6>;	/* PMIC_I2C_SDA */
	};

	/* Verdin I2C_2_DSI */
	pinctrl_i2c2: i2c2grp {
		fsl,pins =
			<MX8MP_IOMUXC_I2C2_SCL__I2C2_SCL		0x400001c6>,	/* SODIMM 55 */
			<MX8MP_IOMUXC_I2C2_SDA__I2C2_SDA		0x400001c6>;	/* SODIMM 53 */
	};

	pinctrl_i2c2_gpio: i2c2gpiogrp {
		fsl,pins =
			<MX8MP_IOMUXC_I2C2_SCL__GPIO5_IO16		0x400001c6>,	/* SODIMM 55 */
			<MX8MP_IOMUXC_I2C2_SDA__GPIO5_IO17		0x400001c6>;	/* SODIMM 53 */
	};

	/* Verdin I2C_4_CSI */
	pinctrl_i2c3: i2c3grp {
		fsl,pins =
			<MX8MP_IOMUXC_I2C3_SCL__I2C3_SCL		0x400001c6>,	/* SODIMM 95 */
			<MX8MP_IOMUXC_I2C3_SDA__I2C3_SDA		0x400001c6>;	/* SODIMM 93 */
	};

	pinctrl_i2c3_gpio: i2c3gpiogrp {
		fsl,pins =
			<MX8MP_IOMUXC_I2C3_SCL__GPIO5_IO18		0x400001c6>,	/* SODIMM 95 */
			<MX8MP_IOMUXC_I2C3_SDA__GPIO5_IO19		0x400001c6>;	/* SODIMM 93 */
	};

	/* Verdin I2C_1 */
	pinctrl_i2c4: i2c4grp {
		fsl,pins =
			<MX8MP_IOMUXC_I2C4_SCL__I2C4_SCL		0x400001c6>,	/* SODIMM 14 */
			<MX8MP_IOMUXC_I2C4_SDA__I2C4_SDA		0x400001c6>;	/* SODIMM 12 */
	};

	pinctrl_i2c4_gpio: i2c4gpiogrp {
		fsl,pins =
			<MX8MP_IOMUXC_I2C4_SCL__GPIO5_IO20		0x400001c6>,	/* SODIMM 14 */
			<MX8MP_IOMUXC_I2C4_SDA__GPIO5_IO21		0x400001c6>;	/* SODIMM 12 */
	};

	/* Verdin I2S_2_BCLK (TOUCH_RESET#) */
	pinctrl_i2s_2_bclk_touch_reset: i2s2bclktouchresetgrp {
		fsl,pins =
			<MX8MP_IOMUXC_SAI3_TXC__GPIO5_IO00		0x184>;	/* SODIMM 42 */
	};

	/* Verdin I2S_2_D_OUT shared with SAI3 */
	pinctrl_i2s_2_d_out_dsi_1_bkl_en: i2s2doutdsi1bklengrp {
		fsl,pins =
			<MX8MP_IOMUXC_SAI3_TXD__GPIO5_IO01		0x184>;	/* SODIMM 46 */
	};

	pinctrl_pcie: pciegrp {
		fsl,pins =
			<MX8MP_IOMUXC_SAI1_TXD7__GPIO4_IO19		0x4>,	/* SODIMM 244 */
			<MX8MP_IOMUXC_SD2_RESET_B__GPIO2_IO19		0x1c4>;	/* PMIC_EN_PCIe_CLK, unused */
	};

	pinctrl_pmic: pmicirqgrp {
		fsl,pins =
			<MX8MP_IOMUXC_GPIO1_IO03__GPIO1_IO03		0x1c4>;	/* PMIC_INT# */
	};

	pinctrl_pwm_1: pwm1grp {
		fsl,pins =
			<MX8MP_IOMUXC_SPDIF_EXT_CLK__PWM1_OUT		0x6>;	/* SODIMM 15 */
	};

	pinctrl_pwm_2: pwm2grp {
		fsl,pins =
			<MX8MP_IOMUXC_GPIO1_IO11__PWM2_OUT		0x6>;	/* SODIMM 16 */
	};

	/* Verdin PWM_3_DSI shared with GPIO3_IO20 */
	pinctrl_pwm_3: pwm3grp {
		fsl,pins =
			<MX8MP_IOMUXC_SAI5_RXC__PWM3_OUT		0x6>;	/* SODIMM 19 */
	};

	/* Verdin PWM_3_DSI (pulled-down as active-high) shared with PWM3_OUT */
	pinctrl_pwm_3_dsi_hpd_gpio: pwm3dsi1hpdgpiogrp {
		fsl,pins =
			<MX8MP_IOMUXC_SAI5_RXC__GPIO3_IO20		0x184>;	/* SODIMM 19 */
	};

	pinctrl_reg_eth: regethgrp {
		fsl,pins =
			<MX8MP_IOMUXC_SD2_WP__GPIO2_IO20		0x184>;	/* PMIC_EN_ETH */
	};

	pinctrl_sai1: sai1grp {
		fsl,pins =
			<MX8MP_IOMUXC_SAI1_MCLK__AUDIOMIX_SAI1_MCLK		0x96>,	/* SODIMM 38 */
			<MX8MP_IOMUXC_SAI1_RXD0__AUDIOMIX_SAI1_RX_DATA00	0x1d6>,	/* SODIMM 36 */
			<MX8MP_IOMUXC_SAI5_MCLK__AUDIOMIX_SAI1_TX_BCLK		0x1d6>,	/* SODIMM 30 */
			<MX8MP_IOMUXC_SAI5_RXD1__AUDIOMIX_SAI1_TX_SYNC		0x1d6>,	/* SODIMM 32 */
			<MX8MP_IOMUXC_SAI5_RXFS__AUDIOMIX_SAI1_TX_DATA00	0x96>;	/* SODIMM 34 */
	};

	pinctrl_sai3: sai3grp {
		fsl,pins =
			<MX8MP_IOMUXC_SAI3_RXD__AUDIOMIX_SAI3_RX_DATA00	0x1d6>,	/* SODIMM 48 */
			<MX8MP_IOMUXC_SAI3_TXC__AUDIOMIX_SAI3_TX_BCLK	0x1d6>,	/* SODIMM 42 */
			<MX8MP_IOMUXC_SAI3_TXD__AUDIOMIX_SAI3_TX_DATA00	0x96>,	/* SODIMM 46 */
			<MX8MP_IOMUXC_SAI3_TXFS__AUDIOMIX_SAI3_TX_SYNC	0x1d6>;	/* SODIMM 44 */
	};

	pinctrl_uart1: uart1grp {
		fsl,pins =
			<MX8MP_IOMUXC_SAI2_RXD0__UART1_DCE_RTS		0x1c4>,	/* SODIMM 135 */
			<MX8MP_IOMUXC_SAI2_TXFS__UART1_DCE_CTS		0x1c4>,	/* SODIMM 133 */
			<MX8MP_IOMUXC_UART1_RXD__UART1_DCE_RX		0x1c4>,	/* SODIMM 129 */
			<MX8MP_IOMUXC_UART1_TXD__UART1_DCE_TX		0x1c4>;	/* SODIMM 131 */
	};

	pinctrl_uart2: uart2grp {
		fsl,pins =
			<MX8MP_IOMUXC_SD1_DATA4__UART2_DCE_RTS		0x1c4>,	/* SODIMM 143 */
			<MX8MP_IOMUXC_SD1_DATA5__UART2_DCE_CTS		0x1c4>,	/* SODIMM 141 */
			<MX8MP_IOMUXC_UART2_RXD__UART2_DCE_RX		0x1c4>,	/* SODIMM 137 */
			<MX8MP_IOMUXC_UART2_TXD__UART2_DCE_TX		0x1c4>; /* SODIMM 139 */
	};

	pinctrl_uart3: uart3grp {
		fsl,pins =
			<MX8MP_IOMUXC_UART3_RXD__UART3_DCE_RX		0x1c4>,	/* SODIMM 147 */
			<MX8MP_IOMUXC_UART3_TXD__UART3_DCE_TX		0x1c4>;	/* SODIMM 149 */
	};

	/* Non-wifi usage only */
	pinctrl_uart4: uart4grp {
		fsl,pins =
			<MX8MP_IOMUXC_UART4_RXD__UART4_DCE_RX		0x1c4>,	/* SODIMM 151 */
			<MX8MP_IOMUXC_UART4_TXD__UART4_DCE_TX		0x1c4>;	/* SODIMM 153 */
	};

	pinctrl_usb1_vbus: usb1vbusgrp {
		fsl,pins =
			<MX8MP_IOMUXC_GPIO1_IO12__USB1_OTG_PWR		0x19>;	/* SODIMM 155 */
	};

	/* USB_1_ID */
	pinctrl_usb_1_id: usb1idgrp {
		fsl,pins =
			<MX8MP_IOMUXC_SD1_RESET_B__GPIO2_IO10		0x1c4>;	/* SODIMM 161 */
	};

	pinctrl_usb2_vbus: usb2vbusgrp {
		fsl,pins =
			<MX8MP_IOMUXC_GPIO1_IO14__USB2_OTG_PWR		0x19>;	/* SODIMM 185 */
	};

	/* On-module Wi-Fi */
	pinctrl_usdhc1: usdhc1grp {
		fsl,pins =
			<MX8MP_IOMUXC_SD1_CLK__USDHC1_CLK		0x190>,
			<MX8MP_IOMUXC_SD1_CMD__USDHC1_CMD		0x1d0>,
			<MX8MP_IOMUXC_SD1_DATA0__USDHC1_DATA0		0x1d0>,
			<MX8MP_IOMUXC_SD1_DATA1__USDHC1_DATA1		0x1d0>,
			<MX8MP_IOMUXC_SD1_DATA2__USDHC1_DATA2		0x1d0>,
			<MX8MP_IOMUXC_SD1_DATA3__USDHC1_DATA3		0x1d0>;
	};

	pinctrl_usdhc1_100mhz: usdhc1-100mhzgrp {
		fsl,pins =
			<MX8MP_IOMUXC_SD1_CLK__USDHC1_CLK		0x194>,
			<MX8MP_IOMUXC_SD1_CMD__USDHC1_CMD		0x1d4>,
			<MX8MP_IOMUXC_SD1_DATA0__USDHC1_DATA0		0x1d4>,
			<MX8MP_IOMUXC_SD1_DATA1__USDHC1_DATA1		0x1d4>,
			<MX8MP_IOMUXC_SD1_DATA2__USDHC1_DATA2		0x1d4>,
			<MX8MP_IOMUXC_SD1_DATA3__USDHC1_DATA3		0x1d4>;
	};

	pinctrl_usdhc1_200mhz: usdhc1-200mhzgrp {
		fsl,pins =
			<MX8MP_IOMUXC_SD1_CLK__USDHC1_CLK		0x196>,
			<MX8MP_IOMUXC_SD1_CMD__USDHC1_CMD		0x1d6>,
			<MX8MP_IOMUXC_SD1_DATA0__USDHC1_DATA0		0x1d6>,
			<MX8MP_IOMUXC_SD1_DATA1__USDHC1_DATA1		0x1d6>,
			<MX8MP_IOMUXC_SD1_DATA2__USDHC1_DATA2		0x1d6>,
			<MX8MP_IOMUXC_SD1_DATA3__USDHC1_DATA3		0x1d6>;
	};

	pinctrl_usdhc2_cd: usdhc2cdgrp {
		fsl,pins =
			<MX8MP_IOMUXC_SD2_CD_B__GPIO2_IO12		0x1c4>;	/* SODIMM 84 */
	};

	pinctrl_usdhc2_cd_sleep: usdhc2cdslpgrp {
		fsl,pins =
			<MX8MP_IOMUXC_SD2_CD_B__GPIO2_IO12		0x0>;	/* SODIMM 84 */
	};

	pinctrl_usdhc2_pwr_en: usdhc2pwrengrp {
		fsl,pins =
			<MX8MP_IOMUXC_SAI2_RXC__GPIO4_IO22		0x4>;	/* SODIMM 76 */
	};

	pinctrl_usdhc2: usdhc2grp {
		fsl,pins =
			<MX8MP_IOMUXC_GPIO1_IO04__USDHC2_VSELECT	0x4>,	/* PMIC_USDHC_VSELECT */
			<MX8MP_IOMUXC_SD2_CLK__USDHC2_CLK		0x190>,	/* SODIMM 78 */
			<MX8MP_IOMUXC_SD2_CMD__USDHC2_CMD		0x1d0>,	/* SODIMM 74 */
			<MX8MP_IOMUXC_SD2_DATA0__USDHC2_DATA0		0x1d0>,	/* SODIMM 80 */
			<MX8MP_IOMUXC_SD2_DATA1__USDHC2_DATA1		0x1d0>,	/* SODIMM 82 */
			<MX8MP_IOMUXC_SD2_DATA2__USDHC2_DATA2		0x1d0>,	/* SODIMM 70 */
			<MX8MP_IOMUXC_SD2_DATA3__USDHC2_DATA3		0x1d0>;	/* SODIMM 72 */
	};

	pinctrl_usdhc2_100mhz: usdhc2-100mhzgrp {
		fsl,pins =
			<MX8MP_IOMUXC_GPIO1_IO04__USDHC2_VSELECT	0x4>,
			<MX8MP_IOMUXC_SD2_CLK__USDHC2_CLK		0x194>,
			<MX8MP_IOMUXC_SD2_CMD__USDHC2_CMD		0x1d4>,
			<MX8MP_IOMUXC_SD2_DATA0__USDHC2_DATA0		0x1d4>,
			<MX8MP_IOMUXC_SD2_DATA1__USDHC2_DATA1		0x1d4>,
			<MX8MP_IOMUXC_SD2_DATA2__USDHC2_DATA2		0x1d4>,
			<MX8MP_IOMUXC_SD2_DATA3__USDHC2_DATA3		0x1d4>;
	};

	pinctrl_usdhc2_200mhz: usdhc2-200mhzgrp {
		fsl,pins =
			<MX8MP_IOMUXC_GPIO1_IO04__USDHC2_VSELECT	0x4>,
			<MX8MP_IOMUXC_SD2_CLK__USDHC2_CLK		0x196>,
			<MX8MP_IOMUXC_SD2_CMD__USDHC2_CMD		0x1d6>,
			<MX8MP_IOMUXC_SD2_DATA0__USDHC2_DATA0		0x1d6>,
			<MX8MP_IOMUXC_SD2_DATA1__USDHC2_DATA1		0x1d6>,
			<MX8MP_IOMUXC_SD2_DATA2__USDHC2_DATA2		0x1d6>,
			<MX8MP_IOMUXC_SD2_DATA3__USDHC2_DATA3		0x1d6>;
	};

	/* Avoid backfeeding with removed card power */
	pinctrl_usdhc2_sleep: usdhc2slpgrp {
		fsl,pins =
			<MX8MP_IOMUXC_GPIO1_IO04__USDHC2_VSELECT	0x0>,
			<MX8MP_IOMUXC_SD2_CLK__USDHC2_CLK		0x100>,
			<MX8MP_IOMUXC_SD2_CMD__USDHC2_CMD		0x100>,
			<MX8MP_IOMUXC_SD2_DATA0__USDHC2_DATA0		0x100>,
			<MX8MP_IOMUXC_SD2_DATA1__USDHC2_DATA1		0x100>,
			<MX8MP_IOMUXC_SD2_DATA2__USDHC2_DATA2		0x100>,
			<MX8MP_IOMUXC_SD2_DATA3__USDHC2_DATA3		0x100>;
	};

	pinctrl_usdhc3: usdhc3grp {
		fsl,pins =
			<MX8MP_IOMUXC_GPIO1_IO09__USDHC3_RESET_B	0x1d1>,
			<MX8MP_IOMUXC_NAND_CE1_B__USDHC3_STROBE		0x190>,
			<MX8MP_IOMUXC_NAND_CE2_B__USDHC3_DATA5		0x1d0>,
			<MX8MP_IOMUXC_NAND_CE3_B__USDHC3_DATA6		0x1d0>,
			<MX8MP_IOMUXC_NAND_CLE__USDHC3_DATA7		0x1d0>,
			<MX8MP_IOMUXC_NAND_DATA04__USDHC3_DATA0		0x1d0>,
			<MX8MP_IOMUXC_NAND_DATA05__USDHC3_DATA1		0x1d0>,
			<MX8MP_IOMUXC_NAND_DATA06__USDHC3_DATA2		0x1d0>,
			<MX8MP_IOMUXC_NAND_DATA07__USDHC3_DATA3		0x1d0>,
			<MX8MP_IOMUXC_NAND_RE_B__USDHC3_DATA4		0x1d0>,
			<MX8MP_IOMUXC_NAND_WE_B__USDHC3_CLK		0x190>,
			<MX8MP_IOMUXC_NAND_WP_B__USDHC3_CMD		0x1d0>;
	};

	pinctrl_usdhc3_100mhz: usdhc3-100mhzgrp {
		fsl,pins =
			<MX8MP_IOMUXC_GPIO1_IO09__USDHC3_RESET_B	0x1d1>,
			<MX8MP_IOMUXC_NAND_CE1_B__USDHC3_STROBE		0x194>,
			<MX8MP_IOMUXC_NAND_CE2_B__USDHC3_DATA5		0x1d4>,
			<MX8MP_IOMUXC_NAND_CE3_B__USDHC3_DATA6		0x1d4>,
			<MX8MP_IOMUXC_NAND_CLE__USDHC3_DATA7		0x1d4>,
			<MX8MP_IOMUXC_NAND_DATA04__USDHC3_DATA0		0x1d4>,
			<MX8MP_IOMUXC_NAND_DATA05__USDHC3_DATA1		0x1d4>,
			<MX8MP_IOMUXC_NAND_DATA06__USDHC3_DATA2		0x1d4>,
			<MX8MP_IOMUXC_NAND_DATA07__USDHC3_DATA3		0x1d4>,
			<MX8MP_IOMUXC_NAND_RE_B__USDHC3_DATA4		0x1d4>,
			<MX8MP_IOMUXC_NAND_WE_B__USDHC3_CLK		0x194>,
			<MX8MP_IOMUXC_NAND_WP_B__USDHC3_CMD		0x1d4>;
	};

	pinctrl_usdhc3_200mhz: usdhc3-200mhzgrp {
		fsl,pins =
			<MX8MP_IOMUXC_GPIO1_IO09__USDHC3_RESET_B	0x1d1>,
			<MX8MP_IOMUXC_NAND_CE1_B__USDHC3_STROBE		0x196>,
			<MX8MP_IOMUXC_NAND_CE2_B__USDHC3_DATA5		0x1d2>,
			<MX8MP_IOMUXC_NAND_CE3_B__USDHC3_DATA6		0x1d2>,
			<MX8MP_IOMUXC_NAND_CLE__USDHC3_DATA7		0x1d2>,
			<MX8MP_IOMUXC_NAND_DATA04__USDHC3_DATA0		0x1d2>,
			<MX8MP_IOMUXC_NAND_DATA05__USDHC3_DATA1		0x1d2>,
			<MX8MP_IOMUXC_NAND_DATA06__USDHC3_DATA2		0x1d2>,
			<MX8MP_IOMUXC_NAND_DATA07__USDHC3_DATA3		0x1d2>,
			<MX8MP_IOMUXC_NAND_RE_B__USDHC3_DATA4		0x1d2>,
			<MX8MP_IOMUXC_NAND_WE_B__USDHC3_CLK		0x196>,
			<MX8MP_IOMUXC_NAND_WP_B__USDHC3_CMD		0x1d6>;
	};

	pinctrl_wdog: wdoggrp {
		fsl,pins =
			<MX8MP_IOMUXC_GPIO1_IO02__WDOG1_WDOG_B		0xc6>;	/* PMIC_WDI */
	};

	pinctrl_bluetooth_ctrl: bluetoothctrlgrp {
		fsl,pins =
			<MX8MP_IOMUXC_SD1_DATA6__GPIO2_IO08		0x1c4>;	/* WIFI_WKUP_BT */
	};

	pinctrl_wifi_ctrl: wifictrlgrp {
		fsl,pins =
			<MX8MP_IOMUXC_SD1_DATA7__GPIO2_IO09		0x1c4>;	/* WIFI_WKUP_WLAN */
	};

	pinctrl_wifi_i2s: wifii2sgrp {
		fsl,pins =
			<MX8MP_IOMUXC_SAI2_RXFS__GPIO4_IO21		0x1d6>,	/* WIFI_TX_SYNC */
			<MX8MP_IOMUXC_SAI5_RXD0__GPIO3_IO21		0x96>,	/* WIFI_RX_DATA0 */
			<MX8MP_IOMUXC_SAI5_RXD2__GPIO3_IO23		0x1d6>,	/* WIFI_TX_BCLK */
			<MX8MP_IOMUXC_SAI5_RXD3__GPIO3_IO24		0x1d6>;	/* WIFI_TX_DATA0 */
	};

	pinctrl_wifi_pwr_en: wifipwrengrp {
		fsl,pins =
			<MX8MP_IOMUXC_SD1_STROBE__GPIO2_IO11		0x184>;	/* PMIC_EN_WIFI */
	};
};
